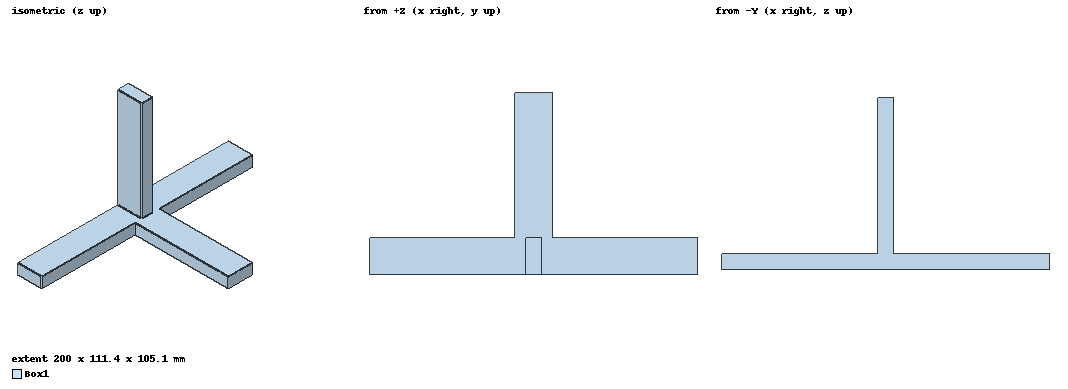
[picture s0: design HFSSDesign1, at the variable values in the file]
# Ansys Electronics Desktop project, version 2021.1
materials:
  vacuum: permittivity=1

design HFSSDesign1 (HFSS, DrivenModal, model units mm)
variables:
  a = 22.86mm
  b = 100mm
  c = 10.16mm
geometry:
  Box1 [vacuum] = box(corner=(-a/2, 0mm, -c/2), size=(a, b, c))
  Box1_1 = Box1.duplicate_around_axis(axis=Z, angle=90deg, total=2)
  Box1_2 = Box1.duplicate_around_axis(axis=Z, angle=-90deg, total=2)
  Box1_3 = Box1.duplicate_around_axis(axis=X, angle=90deg, total=2)
  Box1_3.rotate(axis=Z, angle=90deg)
  Box1.unite(Box1_1, Box1_2, Box1_3)
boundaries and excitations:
  PerfE1: Perfect E Objects=Box1
  1: Wave Port Faces=Box1.face(5 of 6) NumModes=1 Modes{Mode1{IntLine{Box1.face(5 of 6) -> middle of Box1.edge(2 of 12)} CharImp=Zpi}}
  2: Wave Port Faces=Box1.face(+y) NumModes=1 Modes{Mode1{IntLine{middle of Box1.edge(8 of 12) -> middle of Box1.edge(2 of 12)} CharImp=Zpi}}
  3: Wave Port Faces=Box1.face(5 of 6) NumModes=1 Modes{Mode1{IntLine{middle of Box1.edge(2 of 12) -> middle of Box1.edge(8 of 12)} CharImp=Zpi}}
  4: Wave Port Faces=Box1.face(5 of 6) NumModes=1 Modes{Mode1{IntLine{middle of Box1.edge(2 of 12) -> middle of Box1.edge(8 of 12)} CharImp=Zpi}}
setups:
  Setup1: HfssDriven Frequency=10GHz MaxDeltaS=0.02 MaximumPasses=12 MinimumPasses=1 MinimumConvergedPasses=1 PercentRefinement=30 BasisOrder=1 PortAccuracy=2
    sweep Sweep: 5GHz to 17GHz step 0.1GHz; Type=Discrete
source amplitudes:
  1:1: 1W 0deg
  2:1, 3:1, 4:1: 0W 0deg
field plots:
  Mag_E1, Vector_E1: E Field in Box1 on Setup1 : LastAdaptive at Freq=10GHz Phase=0deg
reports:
  S Parameter Plot 1: dB(S(1,1)), dB(S(2,1)), dB(S(3,1)), dB(S(4,1)), dB(S(1,2)), dB(S(2,2)), dB(S(3,2)), dB(S(4,2)), dB(S(1,3)), dB(S(2,3)), dB(S(3,3)), dB(S(4,3)), dB(S(1,4)), dB(S(2,4)), dB(S(3,4)), dB(S(4,4)) vs Freq on Setup1 : Sweep; markers s23 at 10GHz, s44 at 10GHz, s11 at 10GHz, s33 at 10GHz, s14 at 10GHz, s12 at 10GHz, s24 at 10GHz, s22 at 10GHz, s13 at 10GHz, s34 at 10GHz
